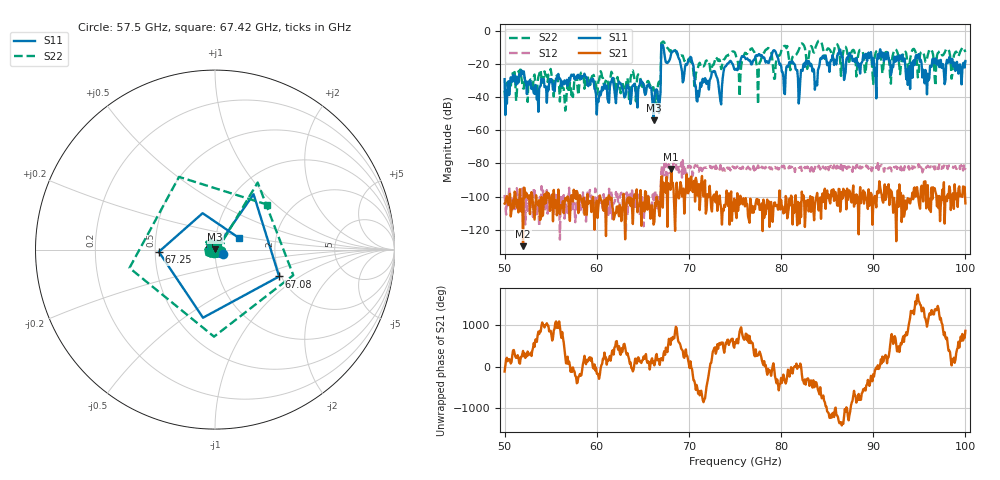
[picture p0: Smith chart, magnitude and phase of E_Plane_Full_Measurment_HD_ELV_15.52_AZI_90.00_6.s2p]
! 11/26/2026 3:16:42 PM
! C:\ANRITSUVNA\TEMP\TEMP.S2P
! CHANNEL.1
! TR.MEASUREMENT
! RAW.DATA
# HZ S RI R 50.0
! FREQ.HZ  S11RE  S11IM  S21RE  S21IM  S12RE  S12IM  S22RE  S22IM
!; PortSelection: Port_12
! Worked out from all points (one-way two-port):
!   601 points, 50 GHz to 100 GHz, reference 50 ohm
!   highest |S21| = -83.31 dB at 68.08 GHz (marker M1); lowest = -130.0 dB at 52 GHz (marker M2)
!   lowest |S11| = -53.9 dB at 66.17 GHz (marker M3), VSWR 1.00, Z = 50.1 + j0.148 ohm
!   |S11| at or under -10 dB: start of sweep to 67 GHz; 67.25 GHz to end of sweep
!   |S22| runs from -48.1 to -5.6 dB; largest |S21 - S12| = 0.00012
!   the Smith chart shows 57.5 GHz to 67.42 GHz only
!   S11 on the Smith chart (normalised r, x): 57.5 GHz: 1.09, -0.05; 67.08 GHz: 1.95, -0.69; 67.25 GHz: 0.52, -0.01; 67.42 GHz: 1.29, +0.17
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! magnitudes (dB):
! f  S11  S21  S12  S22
! 50 GHz  -29.0  -104.2  -99.0  -35.9
! 52 GHz  -25.9  -130.0  -108.9  -34.5
! 53.42 GHz  -34.8  -99.2  -101.9  -35.5
! 57.5 GHz  -26.2  -95.9  -103.7  -34.7
! 58.42 GHz  -27.2  -103.4  -104.1  -24.7
! 60.17 GHz  -42.9  -106.4  -99.1  -30.4
! 66.17 GHz  -53.9  -116.9  -103.5  -34.0
! 66.67 GHz  -41.5  -103.2  -102.8  -31.7
! 67.08 GHz  -8.2  -87.8  -81.4  -6.8
! 67.25 GHz  -10.1  -91.6  -87.2  -6.2
! 67.42 GHz  -16.6  -93.6  -82.8  -8.3
! 68.08 GHz  -13.3  -83.3  -83.5  -11.3
! 70.25 GHz  -15.9  -87.9  -81.9  -18.8
! 70.92 GHz  -42.5  -99.4  -81.2  -23.1
! 75 GHz  -23.3  -103.8  -82.5  -13.0
! 79.25 GHz  -11.5  -103.8  -82.7  -28.8
! 80.25 GHz  -27.8  -110.2  -81.2  -9.3
! 83.42 GHz  -24.3  -100.4  -81.6  -10.8
! 91.67 GHz  -16.6  -92.5  -82.6  -15.2
! 94.83 GHz  -15.1  -97.8  -82.4  -27.9
! 95.83 GHz  -38.2  -103.9  -82.0  -16.5
! 100 GHz  -18.0  -104.1  -82.7  -12.6
